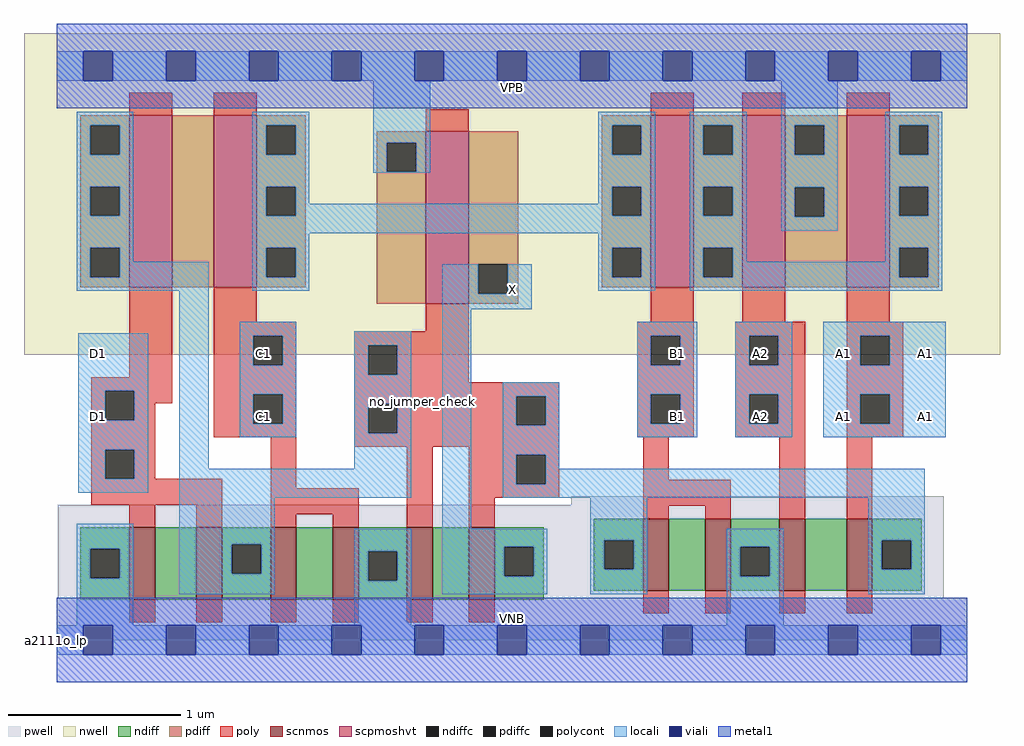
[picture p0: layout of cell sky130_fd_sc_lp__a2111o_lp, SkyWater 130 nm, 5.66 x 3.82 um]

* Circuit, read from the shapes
.subckt sky130_fd_sc_lp__a2111o_lp A1 A2 B1 C1 D1 VGND VNB VPB VPWR X
XM1 n1 D1 VGND VNB sky130_fd_pr__nfet_01v8 w=0.42 l=0.15
XM2 n2 D1 n1 VNB sky130_fd_pr__nfet_01v8 w=0.42 l=0.15
XM3 n3 C1 n2 VNB sky130_fd_pr__nfet_01v8 w=0.42 l=0.15
XM4 VGND C1 n3 VNB sky130_fd_pr__nfet_01v8 w=0.42 l=0.15
XM5 n4 n2 VGND VNB sky130_fd_pr__nfet_01v8 w=0.42 l=0.15
XM6 X n2 n4 VNB sky130_fd_pr__nfet_01v8 w=0.42 l=0.15
XM7 n5 B1 n2 VNB sky130_fd_pr__nfet_01v8 w=0.42 l=0.15
XM8 VGND B1 n5 VNB sky130_fd_pr__nfet_01v8 w=0.42 l=0.15
XM9 n6 A2 VGND VNB sky130_fd_pr__nfet_01v8 w=0.42 l=0.15
XM10 n2 A1 n6 VNB sky130_fd_pr__nfet_01v8 w=0.42 l=0.15
XM11 n7 D1 n2 VPB sky130_fd_pr__pfet_01v8_hvt w=1 l=0.25
XM12 n8 C1 n7 VPB sky130_fd_pr__pfet_01v8_hvt w=1 l=0.25
XM13 X n2 VPWR VPB sky130_fd_pr__pfet_01v8_hvt w=1 l=0.25
XM14 n9 B1 n8 VPB sky130_fd_pr__pfet_01v8_hvt w=1 l=0.25
XM15 VPWR A2 n9 VPB sky130_fd_pr__pfet_01v8_hvt w=1 l=0.25
XM16 n9 A1 VPWR VPB sky130_fd_pr__pfet_01v8_hvt w=1 l=0.25
.ends

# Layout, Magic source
magic
tech sky130A
magscale 1 2
<< nwell >>
rect -38 331 1094 704
<< pwell >>
rect 597 157 1029 167
rect 1 49 1029 157
rect 0 0 1056 49
<< scnmos >>
rect 84 47 114 131
rect 162 47 192 131
rect 248 47 278 131
rect 320 47 350 131
rect 406 47 436 131
rect 478 47 508 131
rect 680 57 710 141
rect 752 57 782 141
rect 838 57 868 141
rect 916 57 946 141
<< scpmoshvt >>
rect 84 409 134 609
rect 182 409 232 609
rect 428 390 478 590
rect 689 409 739 609
rect 795 409 845 609
rect 916 409 966 609
<< ndiff >>
rect 27 106 84 131
rect 27 72 39 106
rect 73 72 84 106
rect 27 47 84 72
rect 114 47 162 131
rect 192 111 248 131
rect 192 77 203 111
rect 237 77 248 111
rect 192 47 248 77
rect 278 47 320 131
rect 350 103 406 131
rect 350 69 361 103
rect 395 69 406 103
rect 350 47 406 69
rect 436 47 478 131
rect 508 108 565 131
rect 508 74 519 108
rect 553 74 565 108
rect 508 47 565 74
rect 623 116 680 141
rect 623 82 635 116
rect 669 82 680 116
rect 623 57 680 82
rect 710 57 752 141
rect 782 108 838 141
rect 782 74 793 108
rect 827 74 838 108
rect 782 57 838 74
rect 868 57 916 141
rect 946 116 1003 141
rect 946 82 957 116
rect 991 82 1003 116
rect 946 57 1003 82
<< pdiff >>
rect 27 597 84 609
rect 27 563 39 597
rect 73 563 84 597
rect 27 526 84 563
rect 27 492 39 526
rect 73 492 84 526
rect 27 455 84 492
rect 27 421 39 455
rect 73 421 84 455
rect 27 409 84 421
rect 134 409 182 609
rect 232 597 289 609
rect 232 563 243 597
rect 277 563 289 597
rect 632 597 689 609
rect 232 526 289 563
rect 232 492 243 526
rect 277 492 289 526
rect 232 455 289 492
rect 232 421 243 455
rect 277 421 289 455
rect 232 409 289 421
rect 371 577 428 590
rect 371 543 383 577
rect 417 543 428 577
rect 371 390 428 543
rect 478 436 535 590
rect 478 402 489 436
rect 523 402 535 436
rect 632 563 644 597
rect 678 563 689 597
rect 632 526 689 563
rect 632 492 644 526
rect 678 492 689 526
rect 632 455 689 492
rect 632 421 644 455
rect 678 421 689 455
rect 632 409 689 421
rect 739 597 795 609
rect 739 563 750 597
rect 784 563 795 597
rect 739 526 795 563
rect 739 492 750 526
rect 784 492 795 526
rect 739 455 795 492
rect 739 421 750 455
rect 784 421 795 455
rect 739 409 795 421
rect 845 597 916 609
rect 845 563 856 597
rect 890 563 916 597
rect 845 525 916 563
rect 845 491 856 525
rect 890 491 916 525
rect 845 409 916 491
rect 966 597 1023 609
rect 966 563 977 597
rect 1011 563 1023 597
rect 966 526 1023 563
rect 966 492 977 526
rect 1011 492 1023 526
rect 966 455 1023 492
rect 966 421 977 455
rect 1011 421 1023 455
rect 966 409 1023 421
rect 478 390 535 402
<< ndiffc >>
rect 39 72 73 106
rect 203 77 237 111
rect 361 69 395 103
rect 519 74 553 108
rect 635 82 669 116
rect 793 74 827 108
rect 957 82 991 116
<< pdiffc >>
rect 39 563 73 597
rect 39 492 73 526
rect 39 421 73 455
rect 243 563 277 597
rect 243 492 277 526
rect 243 421 277 455
rect 383 543 417 577
rect 489 402 523 436
rect 644 563 678 597
rect 644 492 678 526
rect 644 421 678 455
rect 750 563 784 597
rect 750 492 784 526
rect 750 421 784 455
rect 856 563 890 597
rect 856 491 890 525
rect 977 563 1011 597
rect 977 492 1011 526
rect 977 421 1011 455
<< poly >>
rect 84 609 134 635
rect 182 609 232 635
rect 428 590 478 616
rect 689 609 739 635
rect 795 609 845 635
rect 916 609 966 635
rect 84 305 134 409
rect 40 289 134 305
rect 40 255 56 289
rect 90 275 134 289
rect 182 369 232 409
rect 182 353 278 369
rect 428 358 478 390
rect 689 369 739 409
rect 795 369 845 409
rect 916 369 966 409
rect 182 319 228 353
rect 262 319 278 353
rect 182 285 278 319
rect 90 255 114 275
rect 40 221 114 255
rect 182 251 228 285
rect 262 251 278 285
rect 182 235 278 251
rect 40 187 56 221
rect 90 187 114 221
rect 40 157 192 187
rect 84 131 114 157
rect 162 131 192 157
rect 248 176 278 235
rect 345 342 478 358
rect 345 308 361 342
rect 395 308 478 342
rect 345 299 478 308
rect 673 353 739 369
rect 673 319 689 353
rect 723 319 739 353
rect 345 283 583 299
rect 345 274 533 283
rect 345 240 361 274
rect 395 249 533 274
rect 567 249 583 283
rect 395 240 583 249
rect 345 224 583 240
rect 673 285 739 319
rect 673 251 689 285
rect 723 251 739 285
rect 673 235 739 251
rect 787 353 868 369
rect 787 319 803 353
rect 837 319 868 353
rect 787 285 868 319
rect 787 251 803 285
rect 837 251 868 285
rect 787 235 868 251
rect 248 146 350 176
rect 248 131 278 146
rect 320 131 350 146
rect 406 131 436 224
rect 478 215 583 224
rect 478 181 533 215
rect 567 181 583 215
rect 478 165 583 181
rect 680 186 710 235
rect 478 131 508 165
rect 680 156 782 186
rect 680 141 710 156
rect 752 141 782 156
rect 838 141 868 235
rect 916 353 982 369
rect 916 319 932 353
rect 966 319 982 353
rect 916 285 982 319
rect 916 251 932 285
rect 966 251 982 285
rect 916 235 982 251
rect 916 141 946 235
rect 84 21 114 47
rect 162 21 192 47
rect 248 21 278 47
rect 320 21 350 47
rect 406 21 436 47
rect 478 21 508 47
rect 680 31 710 57
rect 752 31 782 57
rect 838 31 868 57
rect 916 31 946 57
<< polycont >>
rect 56 255 90 289
rect 228 319 262 353
rect 228 251 262 285
rect 56 187 90 221
rect 361 308 395 342
rect 689 319 723 353
rect 361 240 395 274
rect 533 249 567 283
rect 689 251 723 285
rect 803 319 837 353
rect 803 251 837 285
rect 533 181 567 215
rect 932 319 966 353
rect 932 251 966 285
<< locali >>
rect 0 649 31 683
rect 65 649 127 683
rect 161 649 223 683
rect 257 649 319 683
rect 353 649 415 683
rect 449 649 511 683
rect 545 649 607 683
rect 641 649 703 683
rect 737 649 799 683
rect 833 649 895 683
rect 929 649 991 683
rect 1025 649 1056 683
rect 23 597 89 613
rect 23 563 39 597
rect 73 563 89 597
rect 23 526 89 563
rect 23 492 39 526
rect 73 492 89 526
rect 23 455 89 492
rect 23 421 39 455
rect 73 439 89 455
rect 227 597 293 613
rect 227 563 243 597
rect 277 563 293 597
rect 227 526 293 563
rect 367 577 433 649
rect 367 543 383 577
rect 417 543 433 577
rect 367 542 433 543
rect 628 597 694 613
rect 628 563 644 597
rect 678 563 694 597
rect 227 492 243 526
rect 277 506 293 526
rect 628 526 694 563
rect 628 506 644 526
rect 277 492 644 506
rect 678 492 694 526
rect 227 472 694 492
rect 227 455 293 472
rect 73 421 176 439
rect 23 405 176 421
rect 227 421 243 455
rect 277 421 293 455
rect 628 455 694 472
rect 227 405 293 421
rect 25 289 106 356
rect 25 255 56 289
rect 90 255 106 289
rect 25 221 106 255
rect 25 187 56 221
rect 90 187 106 221
rect 25 171 106 187
rect 142 199 176 405
rect 447 402 489 436
rect 523 402 551 436
rect 628 421 644 455
rect 678 421 694 455
rect 628 405 694 421
rect 734 597 800 613
rect 734 563 750 597
rect 784 563 800 597
rect 734 526 800 563
rect 734 492 750 526
rect 784 492 800 526
rect 734 455 800 492
rect 840 597 906 649
rect 840 563 856 597
rect 890 563 906 597
rect 840 525 906 563
rect 840 491 856 525
rect 890 491 906 525
rect 840 475 906 491
rect 961 597 1027 613
rect 961 563 977 597
rect 1011 563 1027 597
rect 961 526 1027 563
rect 961 492 977 526
rect 1011 492 1027 526
rect 734 421 750 455
rect 784 439 800 455
rect 961 455 1027 492
rect 961 439 977 455
rect 784 421 977 439
rect 1011 421 1027 455
rect 734 405 1027 421
rect 447 384 551 402
rect 212 353 278 369
rect 212 319 228 353
rect 262 319 278 353
rect 212 285 278 319
rect 212 251 228 285
rect 262 251 278 285
rect 212 235 278 251
rect 345 342 411 358
rect 345 308 361 342
rect 395 308 411 342
rect 345 274 411 308
rect 345 240 361 274
rect 395 240 411 274
rect 345 199 411 240
rect 142 165 411 199
rect 23 106 89 135
rect 23 72 39 106
rect 73 72 89 106
rect 23 17 89 72
rect 142 111 253 165
rect 447 129 481 384
rect 673 353 743 369
rect 673 319 689 353
rect 723 319 743 353
rect 517 283 583 299
rect 517 249 533 283
rect 567 249 583 283
rect 517 215 583 249
rect 673 285 743 319
rect 673 251 689 285
rect 723 251 743 285
rect 673 235 743 251
rect 787 353 853 369
rect 787 319 803 353
rect 837 319 853 353
rect 787 285 853 319
rect 787 251 803 285
rect 837 251 853 285
rect 787 235 853 251
rect 889 353 1031 369
rect 889 319 932 353
rect 966 319 1031 353
rect 889 285 1031 319
rect 889 251 932 285
rect 966 251 1031 285
rect 889 235 1031 251
rect 517 181 533 215
rect 567 199 583 215
rect 567 181 1007 199
rect 517 165 1007 181
rect 142 77 203 111
rect 237 77 253 111
rect 142 53 253 77
rect 345 103 411 129
rect 345 69 361 103
rect 395 69 411 103
rect 345 17 411 69
rect 447 108 569 129
rect 447 74 519 108
rect 553 74 569 108
rect 447 53 569 74
rect 619 116 685 165
rect 619 82 635 116
rect 669 82 685 116
rect 619 53 685 82
rect 777 108 843 129
rect 777 74 793 108
rect 827 74 843 108
rect 777 17 843 74
rect 941 116 1007 165
rect 941 82 957 116
rect 991 82 1007 116
rect 941 53 1007 82
rect 0 -17 31 17
rect 65 -17 127 17
rect 161 -17 223 17
rect 257 -17 319 17
rect 353 -17 415 17
rect 449 -17 511 17
rect 545 -17 607 17
rect 641 -17 703 17
rect 737 -17 799 17
rect 833 -17 895 17
rect 929 -17 991 17
rect 1025 -17 1056 17
<< viali >>
rect 31 649 65 683
rect 127 649 161 683
rect 223 649 257 683
rect 319 649 353 683
rect 415 649 449 683
rect 511 649 545 683
rect 607 649 641 683
rect 703 649 737 683
rect 799 649 833 683
rect 895 649 929 683
rect 991 649 1025 683
rect 31 -17 65 17
rect 127 -17 161 17
rect 223 -17 257 17
rect 319 -17 353 17
rect 415 -17 449 17
rect 511 -17 545 17
rect 607 -17 641 17
rect 703 -17 737 17
rect 799 -17 833 17
rect 895 -17 929 17
rect 991 -17 1025 17
<< metal1 >>
rect 0 683 1056 715
rect 0 649 31 683
rect 65 649 127 683
rect 161 649 223 683
rect 257 649 319 683
rect 353 649 415 683
rect 449 649 511 683
rect 545 649 607 683
rect 641 649 703 683
rect 737 649 799 683
rect 833 649 895 683
rect 929 649 991 683
rect 1025 649 1056 683
rect 0 617 1056 649
rect 0 17 1056 49
rect 0 -17 31 17
rect 65 -17 127 17
rect 161 -17 223 17
rect 257 -17 319 17
rect 353 -17 415 17
rect 449 -17 511 17
rect 545 -17 607 17
rect 641 -17 703 17
rect 737 -17 799 17
rect 833 -17 895 17
rect 929 -17 991 17
rect 1025 -17 1056 17
rect 0 -49 1056 -17
<< labels >>
flabel pwell s 0 0 1056 49 0 FreeSans 200 0 0 0 VNB
port 7 nsew ground bidirectional
flabel nwell s 0 617 1056 666 0 FreeSans 200 0 0 0 VPB
port 8 nsew power bidirectional
rlabel comment s 0 0 0 0 4 a2111o_lp
flabel comment s 424 277 424 277 0 FreeSans 200 90 0 0 no_jumper_check
flabel metal1 s 0 617 1056 666 0 FreeSans 340 0 0 0 VPWR
port 9 nsew power bidirectional
flabel metal1 s 0 0 1056 49 0 FreeSans 340 0 0 0 VGND
port 6 nsew ground bidirectional
flabel locali s 31 242 65 276 0 FreeSans 340 0 0 0 D1
port 5 nsew signal input
flabel locali s 31 316 65 350 0 FreeSans 340 0 0 0 D1
port 5 nsew signal input
flabel locali s 223 242 257 276 0 FreeSans 340 0 0 0 C1
port 4 nsew signal input
flabel locali s 223 316 257 350 0 FreeSans 340 0 0 0 C1
port 4 nsew signal input
flabel locali s 703 242 737 276 0 FreeSans 340 0 0 0 B1
port 3 nsew signal input
flabel locali s 703 316 737 350 0 FreeSans 340 0 0 0 B1
port 3 nsew signal input
flabel locali s 799 242 833 276 0 FreeSans 340 0 0 0 A2
port 2 nsew signal input
flabel locali s 799 316 833 350 0 FreeSans 340 0 0 0 A2
port 2 nsew signal input
flabel locali s 895 242 929 276 0 FreeSans 340 0 0 0 A1
port 1 nsew signal input
flabel locali s 895 316 929 350 0 FreeSans 340 0 0 0 A1
port 1 nsew signal input
flabel locali s 991 242 1025 276 0 FreeSans 340 0 0 0 A1
port 1 nsew signal input
flabel locali s 991 316 1025 350 0 FreeSans 340 0 0 0 A1
port 1 nsew signal input
flabel locali s 511 390 545 424 0 FreeSans 340 0 0 0 X
port 10 nsew signal output
<< properties >>
string LEFsite unit
string LEFclass CORE
string FIXED_BBOX 0 0 1056 666
string GDS_FILE $PDKPATH/libs.ref/sky130_fd_sc_lp/gds/sky130_fd_sc_lp.gds
string LEFsymmetry X Y R90
string GDS_END 1063778
string GDS_START 1054244
<< end >>
